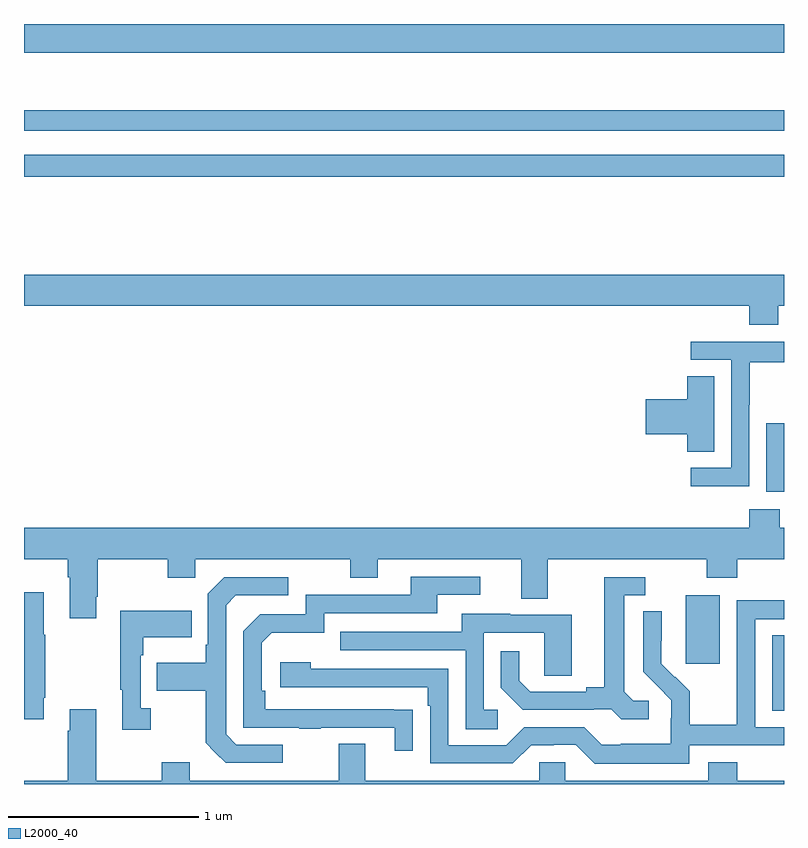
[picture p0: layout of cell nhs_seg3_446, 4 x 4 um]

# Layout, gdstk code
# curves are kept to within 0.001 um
import gdstk
lib = gdstk.Library(unit=1e-6, precision=1e-09)
def R(c, l, rs):  # rectangles x0, y0, x1, y1
    for r in rs: c.add(gdstk.rectangle(r[:2], r[2:], *l))
def P(c, l, *ps):  # polygons
    for p in ps: c.add(gdstk.Polygon(p, *l))
L2000_40 = (2000, 40)

nhs_seg3_446 = lib.new_cell('nhs_seg3_446')
R(nhs_seg3_446, L2000_40, [(136.937,698.785,137,699.182), (136.484,699.033,136.663,699.394), (136.907,699.938,137,700.299), (133,701.596,137,701.712), (133,701.838,137,701.947), (133,702.248,137,702.4)])
P(nhs_seg3_446, L2000_40, [(136.969,700.916),(137,700.916),(137,701.08),(133,701.08),(133,700.916),(136.817,700.916),(136.817,700.817),(136.969,700.817)],
  [(136.818,700.396),(136.821,700.396),(136.821,700.62),(137,700.62),(137,700.728),(136.509,700.728),(136.509,700.632),(136.722,700.632),(136.722,700.065),(136.509,700.065),(136.509,699.967),(136.818,699.967)],
  [(136.633,700.547),(136.49,700.547),(136.49,700.424),(136.272,700.424),(136.272,700.241),(136.49,700.241),(136.49,700.15),(136.633,700.15)],
  [(133.381,699.385),(133.389,699.385),(133.389,699.584),(133.756,699.584),(133.756,699.485),(133.902,699.485),(133.902,699.584),(134.716,699.584),(134.716,699.485),(134.863,699.485),(134.863,699.584),(135.617,699.584),(135.617,699.376),(135.757,699.376),(135.757,699.584),(136.594,699.584),(136.594,699.485),(136.754,699.485),(136.754,699.584),(137,699.584),(137,699.748),(136.977,699.748),(136.977,699.847),(136.817,699.847),(136.817,699.748),(133,699.748),(133,699.584),(133.229,699.584),(133.229,699.488),(133.241,699.488),(133.241,699.273),(133.381,699.273)],
  [(135.047,698.792),(134.27,698.793),(134.27,698.89),(134.25,698.89),(134.25,699.144),(134.303,699.197),(134.58,699.197),(134.58,699.3),(135.175,699.3),(135.175,699.396),(135.4,699.396),(135.4,699.492),(135.035,699.492),(135.035,699.396),(134.484,699.396),(134.484,699.294),(134.244,699.294),(134.154,699.204),(134.154,698.697),(134.449,698.697),(134.449,698.692),(134.561,698.692),(134.561,698.697),(134.951,698.697),(134.951,698.574),(135.047,698.574)],
  [(136.288,698.838),(136.206,698.838),(136.159,698.885),(136.159,699.393),(136.27,699.393),(136.27,699.489),(136.055,699.489),(136.055,698.909),(135.959,698.909),(135.959,698.886),(135.664,698.886),(135.607,698.943),(135.607,699.1),(135.51,699.1),(135.51,698.906),(135.626,698.79),(135.998,698.79),(135.998,698.793),(136.092,698.793),(136.144,698.741),(136.288,698.741)],
  [(134.362,698.607),(134.118,698.607),(134.064,698.661),(134.064,699.342),(134.115,699.393),(134.392,699.393),(134.392,699.489),(134.055,699.489),(133.968,699.402),(133.968,699.133),(133.956,699.133),(133.956,699.037),(133.699,699.037),(133.699,698.89),(133.956,698.89),(133.956,698.617),(134.061,698.511),(134.362,698.511)],
  [(133.105,698.854),(133.113,698.854),(133.113,699.185),(133.105,699.185),(133.105,699.409),(133,699.409),(133,698.742),(133.105,698.742)],
  [(136.5,698.604),(137,698.604),(137,698.7),(136.848,698.7),(136.848,699.267),(137,699.267),(137,699.366),(136.752,699.366),(136.752,698.936),(136.75,698.936),(136.75,698.713),(136.505,698.713),(136.505,698.887),(136.428,698.964),(136.425,698.961),(136.355,699.032),(136.356,699.308),(136.26,699.308),(136.26,698.99),(136.406,698.842),(136.406,698.745),(136.404,698.745),(136.404,698.611),(136.141,698.611),(136.141,698.607),(136.041,698.607),(135.948,698.7),(135.633,698.7),(135.537,698.604),(135.234,698.604),(135.234,699.006),(134.51,699.006),(134.51,699.04),(134.349,699.04),(134.349,698.91),(135.125,698.91),(135.125,698.813),(135.138,698.813),(135.138,698.508),(135.573,698.508),(135.669,698.604),(135.788,698.604),(135.788,698.607),(135.903,698.607),(136.003,698.507),(136.5,698.507)],
  [(133.666,698.798),(133.614,698.798),(133.614,699.077),(133.627,699.077),(133.627,699.173),(133.883,699.173),(133.883,699.313),(133.506,699.313),(133.506,698.897),(133.517,698.897),(133.517,698.685),(133.666,698.685)],
  [(135.493,698.79),(135.42,698.79),(135.42,699.195),(135.738,699.195),(135.738,698.971),(135.883,698.971),(135.883,699.291),(135.559,699.291),(135.559,699.295),(135.305,699.295),(135.305,699.201),(134.665,699.201),(134.665,699.105),(135.324,699.105),(135.324,698.689),(135.493,698.689)],
  [(137,698.416),(136.754,698.416),(136.754,698.515),(136.601,698.515),(136.601,698.416),(135.849,698.416),(135.849,698.514),(135.711,698.514),(135.711,698.416),(134.797,698.416),(134.797,698.611),(134.657,698.611),(134.657,698.416),(133.873,698.416),(133.873,698.515),(133.726,698.515),(133.726,698.416),(133.381,698.416),(133.381,698.794),(133.241,698.794),(133.241,698.681),(133.229,698.681),(133.229,698.416),(133,698.416),(133,698.4),(137,698.4)])

lib.write_gds('nhs_seg3_446.gds')
